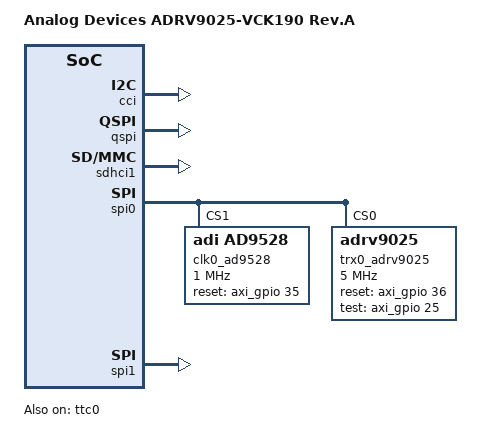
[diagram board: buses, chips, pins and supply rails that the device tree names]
// SPDX-License-Identifier: GPL-2.0
/*
 * Analog Devices ADRV9025
 * https://wiki.analog.com/resources/eval/user-guides/adrv9025
 * https://wiki.analog.com/resources/tools-software/linux-drivers/iio-transceiver/adrv9025
 *
 * hdl_project: <adrv9026/vck190>
 * board_revision: <>
 *
 * Copyright (C) 2020-2023 Analog Devices Inc.
 */
#include "versal-vck190-revA.dts"
#include <dt-bindings/interrupt-controller/irq.h>
#include <dt-bindings/iio/adc/adi,adrv9025.h>
#include <dt-bindings/iio/frequency/ad9528.h>
#include <dt-bindings/gpio/gpio.h>
#include <dt-bindings/jesd204/adxcvr.h>

/* RX path */
#define ADRV9025_RX_LANERATE_KHZ	9830400
#define ADRV9025_RX_LINK_CLK	245760000

/* TX path */
#define ADRV9025_TX_LANERATE_KHZ	9830400
#define ADRV9025_TX_LINK_CLK	245760000

/ {
	model = "Analog Devices ADRV9025-VCK190 Rev.A";

	chosen {
		bootargs = "console=ttyAMA0 earlycon=pl011,mmio32,0xFF000000,115200n8 clk_ignore_unused root=/dev/mmcblk0p2 rw rootfstype=ext4 rootwait";
		stdout-path = "serial0:115200";
	};

	fpga_axi: fpga-axi@0 {
		interrupt-parent = <&gic>;
		compatible = "simple-bus";
		#address-cells = <0x1>;
		#size-cells = <0x1>;
		ranges = <0 0 0 0xffffffff>;

		clocks {
			rx_fixed_linerate: clock@0 {
				#clock-cells = <0>;
				compatible = "fixed-clock";
				clock-frequency = <ADRV9025_RX_LANERATE_KHZ>;
				clock-output-names = "rx_lane_clk";
			};

			tx_fixed_linerate: clock@1 {
				#clock-cells = <0>;
				compatible = "fixed-clock";
				clock-frequency = <ADRV9025_TX_LANERATE_KHZ>;
				clock-output-names = "tx_lane_clk";
			};

			rx_fixed_link_clk: clock@2 {
				#clock-cells = <0>;
				compatible = "fixed-clock";
				clock-frequency = <ADRV9025_RX_LINK_CLK>;
				clock-output-names = "rx_link_clk";
			};

			tx_fixed_link_clk: clock@3 {
				#clock-cells = <0>;
				compatible = "fixed-clock";
				clock-frequency = <ADRV9025_TX_LINK_CLK>;
				clock-output-names = "tx_link_clk";
			};
		};

		axi_gpio: gpio@a4000000 {
			#gpio-cells = <2>;
			#interrupt-cells = <2>;
			clock-names = "s_axi_aclk";
			clocks = <&versal_clk PMC_PL0_REF>;
			compatible = "xlnx,axi-gpio-2.0", "xlnx,xps-gpio-1.00.a";
			gpio-controller;
			interrupt-controller;
			interrupt-names = "ip2intc_irpt";
			interrupt-parent = <&gic>;
			interrupts = <0 84 4>;
			reg = <0xa4000000 0x1000>;
			xlnx,all-inputs = <0x0>;
			xlnx,all-inputs-2 = <0x0>;
			xlnx,all-outputs = <0x0>;
			xlnx,all-outputs-2 = <0x0>;
			xlnx,dout-default = <0x00000000>;
			xlnx,dout-default-2 = <0x00000000>;
			xlnx,gpio-width = <0x20>;
			xlnx,gpio2-width = <0x20>;
			xlnx,interrupt-present = <0x1>;
			xlnx,is-dual = <0x1>;
			xlnx,tri-default = <0xFFFFFFFF>;
			xlnx,tri-default-2 = <0xFFFFFFFF>;
		};

		rx_dma: dma@bc400000 {
			compatible = "adi,axi-dmac-1.00.a";
			reg = <0xbc400000 0x10000>;
			#dma-cells = <1>;
			#clock-cells = <0>;
			interrupts = <0 98 IRQ_TYPE_LEVEL_HIGH>;
			clocks = <&versal_clk PMC_PL1_REF>;

			adi,channels {
				#size-cells = <0>;
				#address-cells = <1>;

				dma-channel@0 {
					reg = <0>;
					adi,source-bus-type = <2>;
					adi,destination-bus-type = <0>;
				};
			};
		};

		tx_dma: dma@bc420000  {
			compatible = "adi,axi-dmac-1.00.a";
			reg = <0xbc420000 0x10000>;
			#dma-cells = <1>;
			#clock-cells = <0>;
			interrupts = <0 97 IRQ_TYPE_LEVEL_HIGH>;
			clocks = <&versal_clk PMC_PL1_REF>;

			adi,channels {
				#size-cells = <0>;
				#address-cells = <1>;

				dma-channel@0 {
					reg = <0>;
					adi,source-bus-type = <0>;
					adi,destination-bus-type = <1>;
				};
			};
		};

		axi_adrv9025_core_rx: axi-adrv9025-rx-hpc@a4a00000 {
			compatible = "adi,axi-adc-10.0.a";
			reg = <0xa4a00000 0x8000>;
			dmas = <&rx_dma 0>;
			dma-names = "rx";
			spibus-connected = <&trx0_adrv9025>;
		};

		axi_adrv9025_core_tx: axi-adrv9025-tx-hpc@a4a04000 {
			compatible = "adi,axi-adrv9025-tx-1.0";
			reg = <0xa4a04000 0x4000>;
			dmas = <&tx_dma 0>;
			dma-names = "tx";
			clocks = <&trx0_adrv9025 1>;
			clock-names = "sampl_clk";

			jesd204-device;
			#jesd204-cells = <2>;
			jesd204-inputs = <&axi_adrv9025_tx_jesd 0 DEFRAMER0_LINK_TX>;
		};

		axi_adrv9025_rx_jesd: axi-jesd204-rx@a4aa0000 {
			compatible = "adi,axi-jesd204-rx-1.0";
			reg = <0xa4aa0000 0x1000>;

			interrupts = <0 95 IRQ_TYPE_LEVEL_HIGH>;

			clocks = <&versal_clk PMC_PL0_REF>, <&clk0_ad9528 3>, <&rx_fixed_link_clk>, <&rx_fixed_linerate>;
			clock-names = "s_axi_aclk", "device_clk", "link_clk", "lane_clk";

			#clock-cells = <0>;
			clock-output-names = "jesd_rx_lane_clk";

			jesd204-device;
			#jesd204-cells = <2>;
			jesd204-inputs = <&clk0_ad9528 0 FRAMER0_LINK_RX>;

			reset-done-gpios = <&axi_gpio 37 0>;
			pll-datapath-reset-gpios = <&axi_gpio 40 0>;
			datapath-reset-gpios = <&axi_gpio 42 0>;
		};

		axi_adrv9025_tx_jesd: axi-jesd204-tx@a4a90000 {
			compatible = "adi,axi-jesd204-tx-1.0";
			reg = <0xa4a90000 0x1000>;

			interrupts = <0 94 IRQ_TYPE_LEVEL_HIGH>;

			clocks = <&versal_clk PMC_PL0_REF>, <&clk0_ad9528 3>, <&tx_fixed_link_clk>, <&tx_fixed_linerate>;
			clock-names = "s_axi_aclk", "device_clk", "link_clk", "lane_clk";

			#clock-cells = <0>;
			clock-output-names = "jesd_tx_lane_clk";

			jesd204-device;
			#jesd204-cells = <2>;
			jesd204-inputs = <&clk0_ad9528 0 DEFRAMER0_LINK_TX>;

			reset-done-gpios = <&axi_gpio 38 0>;
			pll-datapath-reset-gpios = <&axi_gpio 41 0>;
			datapath-reset-gpios = <&axi_gpio 43 0>;

		};

		axi_sysid_0: axi-sysid-0@a5000000 {
			compatible = "adi,axi-sysid-1.00.a";
			reg = <0xa5000000 0x10000>;
		};
	};
};

&gic {
	num_cpus = <2>;
	num_interrupts = <98>;
};

&lpd_dma_chan0 {
	status = "okay";
};

&lpd_dma_chan1 {
	status = "okay";
};

&lpd_dma_chan2 {
	status = "okay";
};

&lpd_dma_chan3 {
	status = "okay";
};

&lpd_dma_chan4 {
	status = "okay";
};

&lpd_dma_chan5 {
	status = "okay";
};

&lpd_dma_chan6 {
	status = "okay";
};

&lpd_dma_chan7 {
	status = "okay";
};

&cci {
	status = "okay";
};

&smmu {
	status = "okay";
};

&i2c1 {
	status = "disabled";
};

&gpio1 {
	status = "okay";
};

&qspi {
	is-dual = <1>;
	num-cs = <1>;
	spi-rx-bus-width = <4>;
	spi-tx-bus-width = <4>;
	status = "okay";
};

&sdhci1 {
	clock-frequency = <199999985>;
	status = "okay";
};

&serial0 {
	cts-override ;
	device_type = "serial";
	port-number = <0>;
};

&spi0 {
	is-decoded-cs = <0>;
	num-cs = <3>;
	status = "okay";
};

&spi1 {
	is-decoded-cs = <0>;
	num-cs = <3>;
	status = "okay";
};

&ttc0 {
	status = "okay";
};

&ref_clk {
	clock-frequency = <33333333>;
};

&gem0 {
	local-mac-address = [00 0a 35 ad 90 81];
};

&spi0 {
	status = "okay";

	clk0_ad9528: ad9528-1@1 {
		compatible = "adi,ad9528";
		reg = <1>;

		#address-cells = <1>;
		#size-cells = <0>;

		spi-max-frequency = <1000000>;

		reset-gpios = <&axi_gpio 35 0>;

		clock-output-names = "ad9528-1_out0", "ad9528-1_out1", "ad9528-1_out2",
			"ad9528-1_out3", "ad9528-1_out4", "ad9528-1_out5", "ad9528-1_out6",
			"ad9528-1_out7", "ad9528-1_out8", "ad9528-1_out9", "ad9528-1_out10",
			"ad9528-1_out11", "ad9528-1_out12", "ad9528-1_out13";
		#clock-cells = <1>;

		jesd204-device;
		#jesd204-cells = <2>;
		jesd204-sysref-provider;

		adi,vcxo-freq = <122880000>;

		adi,refa-enable;
		adi,refa-diff-rcv-enable;
		adi,refa-r-div = <1>;

		/* PLL1 config */
		adi,pll1-feedback-div = <4>;
		adi,pll1-charge-pump-current-nA = <5000>;

		/* PLL2 config */
		adi,pll2-vco-div-m1 = <3>; /* use 5 for 184320000 output device clock */
		adi,pll2-n2-div = <10>; /* N / M1 */
		adi,pll2-r1-div = <1>;
		adi,pll2-charge-pump-current-nA = <805000>;

		/* SYSREF config */
		adi,sysref-src = <SYSREF_SRC_INTERNAL>;
		adi,sysref-pattern-mode = <SYSREF_PATTERN_NSHOT>;
		adi,sysref-k-div = <512>;
		adi,sysref-nshot-mode = <SYSREF_NSHOT_8_PULSES>;
		adi,jesd204-desired-sysref-frequency-hz = <3840000>;

		adi,rpole2 = <RPOLE2_900_OHM>;
		adi,rzero = <RZERO_1850_OHM>;
		adi,cpole1 = <CPOLE1_16_PF>;

		adi,status-mon-pin0-function-select = <1>; /* PLL1 & PLL2 Locked */
		adi,status-mon-pin1-function-select = <7>; /* REFA Correct */

		ad9528_0_c0: channel@0 {
			reg = <0>;
			adi,extended-name = "DEV_SYSREF";
			adi,driver-mode = <DRIVER_MODE_LVDS>;
			adi,divider-phase = <0>;
			adi,channel-divider = <5>;
			adi,signal-source = <SOURCE_SYSREF_VCO>;
		};

		ad9528_0_c1: channel@1 {
			reg = <1>;
			adi,extended-name = "DEV_CLK";
			adi,driver-mode = <DRIVER_MODE_LVDS>;
			adi,divider-phase = <0>;
			adi,channel-divider = <5>;
			adi,signal-source = <SOURCE_VCO>;
		};

		ad9528_0_c3: channel@3 {
			reg = <3>;
			adi,extended-name = "CORE_CLK";
			adi,driver-mode = <DRIVER_MODE_LVDS>;
			adi,divider-phase = <0>;
			adi,channel-divider = <5>;
			adi,signal-source = <SOURCE_VCO>;
		};

		ad9528_0_c12: channel@12 {
			reg = <12>;
			adi,extended-name = "FMC_SYSREF";
			adi,driver-mode = <DRIVER_MODE_LVDS>;
			adi,divider-phase = <0>;
			adi,channel-divider = <5>;
			adi,signal-source = <SOURCE_SYSREF_VCO>;
		};

		ad9528_0_c13: channel@13 {
			reg = <13>;
			adi,extended-name = "FMC_CLK";
			adi,driver-mode = <DRIVER_MODE_LVDS>;
			adi,divider-phase = <0>;
			adi,channel-divider = <5>;
			adi,signal-source = <SOURCE_VCO>;
		};
	};

	trx0_adrv9025: adrv9025-phy@0 {
		compatible = "adrv9025";
		reg = <0>;

		#address-cells = <1>;
		#size-cells = <0>;

		/* SPI Setup */
		spi-max-frequency = <5000000>;

		reset-gpios = <&axi_gpio 36 0>;
		test-gpios = <&axi_gpio 25 0>;

		/* Clocks */
		clocks = <&clk0_ad9528 1>;

		clock-names = "dev_clk";

		clock-output-names = "rx_sampl_clk", "tx_sampl_clk";
		#clock-cells = <1>;

		jesd204-device;
		#jesd204-cells = <2>;
		jesd204-top-device = <0>; /* This is the TOP device */
		jesd204-link-ids = <DEFRAMER0_LINK_TX FRAMER0_LINK_RX>;

		jesd204-inputs =
			<&axi_adrv9025_rx_jesd 0 FRAMER0_LINK_RX>,
			<&axi_adrv9025_core_tx 0 DEFRAMER0_LINK_TX>;

		adi,device-profile-name = "ActiveUseCase.profile";
		adi,init-profile-name = "ActiveUtilInit.profile";
		adi,arm-firmware-name = "ADRV9025_FW.bin;ADRV9025_DPDCORE_FW.bin";
		adi,stream-firmware-name = "stream_image_6E3E00EFB74FE7D465FA88A171B81B8F.bin";
		adi,rx-gaintable-names = "ADRV9025_RxGainTable.csv";
		adi,rx-gaintable-channel-masks = <0xFF>;
		adi,tx-attntable-names = "ADRV9025_TxAttenTable.csv";
		adi,tx-attntable-channel-masks = <0x0F>;
	};
};
